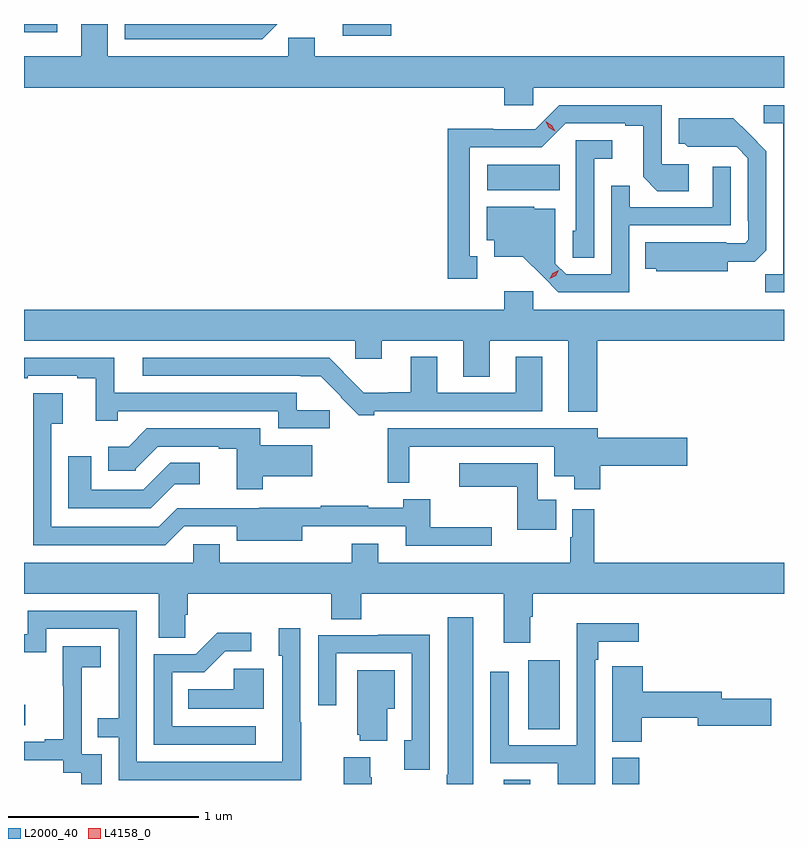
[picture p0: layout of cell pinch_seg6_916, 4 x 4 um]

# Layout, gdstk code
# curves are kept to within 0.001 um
import gdstk
lib = gdstk.Library(unit=1e-6, precision=1e-09)
def R(c, l, rs):  # rectangles x0, y0, x1, y1
    for r in rs: c.add(gdstk.rectangle(r[:2], r[2:], *l))
def P(c, l, *ps):  # polygons
    for p in ps: c.add(gdstk.Polygon(p, *l))
L2000_40 = (2000, 40)
L4158_0 = (4158, 0)

pinch_seg6_916 = lib.new_cell('pinch_seg6_916')
R(pinch_seg6_916, L2000_40, [(348.14,925.023,348.28,925.046), (348.71,925.023,348.854,925.161), (348.269,925.312,348.436,925.675), (345.615,925.332,345.622,925.441), (348.054,928.148,348.434,928.282), (347.292,928.962,347.549,929.023), (345.615,928.98,345.79,929.023)])
P(pinch_seg6_916, L2000_40, [(346.949,929.023),(346.146,929.023),(346.146,928.944),(346.87,928.944)],
  [(348.294,928.688),(349.615,928.688),(349.615,928.852),(347.146,928.852),(347.146,928.95),(347.007,928.95),(347.007,928.852),(346.057,928.852),(346.057,929.023),(345.917,929.023),(345.917,928.852),(345.615,928.852),(345.615,928.688),(348.143,928.688),(348.143,928.595),(348.294,928.595)],
  [(348.001,927.801),(347.962,927.801),(347.962,928.374),(348.339,928.374),(348.465,928.5),(348.779,928.5),(348.779,928.488),(348.873,928.488),(348.873,928.22),(348.949,928.144),(349.114,928.144),(349.114,928.284),(348.972,928.284),(348.972,928.596),(348.432,928.596),(348.306,928.47),(348.084,928.47),(348.084,928.472),(347.844,928.472),(347.844,927.681),(348.001,927.681)],
  [(349.615,928.596),(349.509,928.596),(349.509,928.5),(349.611,928.5),(349.611,927.707),(349.516,927.707),(349.516,927.612),(349.615,927.612)],
  [(349.318,927.773),(349.462,927.773),(349.521,927.832),(349.521,928.354),(349.349,928.528),(349.061,928.528),(349.061,928.392),(349.092,928.392),(349.108,928.376),(349.365,928.377),(349.425,928.317),(349.425,927.988),(349.428,927.988),(349.428,927.888),(349.41,927.87),(349.31,927.87),(349.31,927.874),(348.886,927.874),(348.886,927.734),(348.942,927.734),(348.942,927.722),(349.318,927.722)],
  [(348.615,928.313),(348.712,928.313),(348.712,928.41),(348.519,928.41),(348.519,927.936),(348.504,927.936),(348.504,927.793),(348.615,927.793)],
  [(348.801,927.963),(349.335,927.963),(349.335,928.273),(349.239,928.273),(349.239,928.059),(348.803,928.059),(348.803,928.172),(348.705,928.172),(348.705,927.705),(348.468,927.705),(348.411,927.762),(348.411,928.051),(348.3,928.051),(348.3,928.06),(348.05,928.06),(348.05,927.884),(348.089,927.884),(348.089,927.797),(348.241,927.797),(348.428,927.612),(348.801,927.612)],
  [(348.632,927.356),(349.615,927.356),(349.615,927.52),(348.294,927.52),(348.294,927.616),(348.143,927.616),(348.143,927.52),(345.615,927.52),(345.615,927.356),(347.358,927.356),(347.358,927.261),(347.497,927.261),(347.497,927.356),(347.927,927.356),(347.927,927.166),(348.067,927.166),(348.067,927.356),(348.479,927.356),(348.479,926.981),(348.632,926.981)],
  [(347.458,926.985),(348.343,926.985),(348.343,927.271),(348.203,927.271),(348.203,927.081),(347.791,927.081),(347.791,927.271),(347.651,927.271),(347.651,927.086),(347.531,927.086),(347.531,927.082),(347.402,927.082),(347.292,927.192),(347.294,927.194),(347.221,927.267),(346.239,927.267),(346.239,927.171),(347.176,927.17),(347.285,927.062),(347.282,927.059),(347.377,926.963),(347.458,926.963)],
  [(347.224,926.991),(347.05,926.991),(347.05,927.081),(346.09,927.081),(346.09,927.267),(345.615,927.267),(345.615,927.159),(345.634,927.159),(345.634,927.171),(345.896,927.171),(345.896,927.159),(345.992,927.159),(345.992,926.934),(346.109,926.934),(346.109,926.985),(346.953,926.985),(346.953,926.895),(347.224,926.895)],
  [(348.076,926.375),(347.754,926.375),(347.754,926.523),(347.612,926.523),(347.612,926.476),(347.428,926.476),(347.428,926.488),(347.176,926.488),(347.176,926.476),(346.422,926.475),(346.323,926.376),(345.759,926.376),(345.759,926.918),(345.82,926.918),(345.82,927.079),(345.663,927.079),(345.663,926.28),(346.359,926.28),(346.458,926.379),(346.736,926.379),(346.736,926.303),(347.08,926.303),(347.08,926.379),(347.624,926.379),(347.624,926.277),(348.076,926.277)],
  [(348.647,926.699),(349.105,926.699),(349.105,926.846),(348.634,926.846),(348.634,926.895),(347.529,926.895),(347.529,926.608),(347.642,926.608),(347.642,926.799),(348.407,926.799),(348.407,926.642),(348.512,926.642),(348.512,926.574),(348.647,926.574)],
  [(346.871,926.642),(347.131,926.642),(347.131,926.806),(346.858,926.806),(346.858,926.895),(346.262,926.895),(346.166,926.799),(346.059,926.799),(346.059,926.673),(346.203,926.673),(346.203,926.682),(346.32,926.799),(346.64,926.799),(346.64,926.787),(346.736,926.787),(346.736,926.574),(346.871,926.574)],
  [(346.408,926.601),(346.54,926.601),(346.54,926.714),(346.386,926.714),(346.243,926.571),(345.97,926.571),(345.97,926.749),(345.848,926.749),(345.848,926.475),(346.282,926.475)],
  [(348.416,926.518),(348.318,926.518),(348.318,926.71),(347.907,926.71),(347.907,926.588),(348.21,926.588),(348.21,926.36),(348.416,926.36)],
  [(348.28,925.904),(348.293,925.904),(348.293,926.024),(349.615,926.024),(349.615,926.188),(348.617,926.188),(348.617,926.47),(348.501,926.47),(348.501,926.321),(348.489,926.321),(348.489,926.188),(347.479,926.188),(347.479,926.287),(347.339,926.287),(347.339,926.188),(346.645,926.188),(346.645,926.286),(346.506,926.286),(346.506,926.188),(345.615,926.188),(345.615,926.024),(346.325,926.024),(346.325,925.792),(346.464,925.792),(346.464,925.915),(346.478,925.915),(346.478,926.024),(347.231,926.024),(347.231,925.891),(347.391,925.891),(347.391,926.024),(348.14,926.024),(348.14,925.767),(348.28,925.767)],
  [(347.073,925.349),(347.07,925.349),(347.07,925.843),(346.955,925.843),(346.955,925.698),(346.974,925.698),(346.974,925.394),(346.973,925.394),(346.973,925.14),(346.209,925.14),(346.209,925.935),(345.635,925.935),(345.635,925.812),(345.615,925.812),(345.615,925.716),(345.732,925.716),(345.732,925.839),(346.113,925.839),(346.113,925.37),(346.003,925.37),(346.003,925.269),(346.113,925.269),(346.113,925.044),(346.609,925.044),(346.609,925.043),(347.073,925.043)],
  [(347.98,925.9),(347.846,925.9),(347.846,925.072),(347.839,925.072),(347.839,925.023),(347.98,925.023)],
  [(348.621,925.676),(348.637,925.676),(348.637,925.772),(348.85,925.772),(348.85,925.87),(348.525,925.87),(348.525,925.227),(348.165,925.227),(348.165,925.615),(348.069,925.615),(348.069,925.131),(348.425,925.131),(348.425,925.023),(348.621,925.023)],
  [(346.834,925.326),(346.395,925.326),(346.395,925.611),(346.564,925.611),(346.675,925.722),(346.81,925.722),(346.81,925.82),(346.631,925.82),(346.518,925.707),(346.299,925.707),(346.299,925.23),(346.834,925.23)],
  [(347.751,925.808),(347.479,925.808),(347.479,925.806),(347.163,925.806),(347.163,925.437),(347.259,925.437),(347.259,925.71),(347.655,925.71),(347.655,925.254),(347.615,925.254),(347.615,925.098),(347.751,925.098)],
  [(346.023,925.179),(345.918,925.179),(345.918,925.409),(345.92,925.409),(345.92,925.637),(346.018,925.637),(346.018,925.747),(345.82,925.747),(345.82,925.541),(345.821,925.541),(345.821,925.258),(345.725,925.258),(345.725,925.245),(345.615,925.245),(345.615,925.149),(345.822,925.149),(345.822,925.081),(345.915,925.081),(345.915,925.023),(346.023,925.023)],
  [(348.867,925.372),(349.16,925.372),(349.16,925.33),(349.549,925.33),(349.549,925.472),(349.288,925.472),(349.288,925.508),(348.872,925.508),(348.872,925.642),(348.711,925.642),(348.711,925.529),(348.71,925.529),(348.71,925.246),(348.867,925.246)],
  [(346.876,925.63),(346.719,925.63),(346.719,925.522),(346.48,925.522),(346.48,925.418),(346.876,925.418)],
  [(347.527,925.418),(347.566,925.418),(347.566,925.621),(347.369,925.621),(347.369,925.281),(347.381,925.281),(347.381,925.25),(347.527,925.25)],
  [(347.445,925.058),(347.437,925.058),(347.437,925.165),(347.297,925.165),(347.297,925.023),(347.445,925.023)])
P(pinch_seg6_916, L4158_0, [(348.382,927.681),(348.382,927.681),(348.399,927.711),(348.43,927.727),(348.43,927.727),(348.43,927.727),(348.413,927.697),(348.382,927.681)],
  [(348.41,928.459),(348.378,928.477),(348.361,928.51),(348.361,928.51),(348.361,928.51),(348.393,928.491),(348.41,928.459),(348.41,928.459)])

lib.write_gds('pinch_seg6_916.gds')
